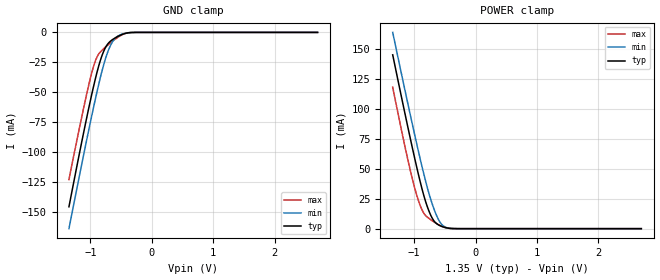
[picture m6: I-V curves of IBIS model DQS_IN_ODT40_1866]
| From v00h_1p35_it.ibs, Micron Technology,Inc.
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| MODEL DQS_IN_ODT40_1866 (Data Strobe Input with 40ohm ODT, 1866Mbps)
[Model]   DQS_IN_ODT40_1866
Model_type   Input
Vinl = 545.000mV
Vinh = 805.000mV
|   typ   min   max
|C_comp   1.023pF   0.931pF   1.130pF
C_comp_power_clamp   0.5115pF   0.4655pF   0.5650pF
C_comp_gnd_clamp   0.5115pF   0.4655pF   0.5650pF
| Note: C_comp changes when the ODT circuit is enabled.
[Model Spec]
| Input threshold voltage corners
Vinl   0.5450V   0.5115V   0.5825V
Vinh   0.8050V   0.7715V   0.8425V
| Dynamic Overshoot Parameters from DDR3L Specification
|D_overshoot_ampl_h   0.40   NA   NA
|D_overshoot_ampl_l   0.40   NA   NA
|D_overshoot_area_h   0.11n   NA   NA
|D_overshoot_area_l   0.11n   NA   NA
[Receiver Thresholds]
|Vth   =  0.675V
|Vth_min  =  0.6615V
|Vth_max  =  0.6885V
|Vinh_ac  =  0.130V
|Vinh_dc  =  0.090V
|Vinl_ac  = -0.130V
|Vinl_dc  = -0.090V
|Tslew_ac =  5.000ns |Not specified, so set to high value
|Threshold_sensitivity = 0.50
|Reference_supply Power_clamp_ref
|NOTE: If using the IBISCHK 4.2.1 or older parser, Differential receiver
|threshold parameters must be commented out because the parser generates
|errors for multiple differential models.
Vcross_low   = 0.545V
Vcross_high  = 0.805V
Vdiff_ac   = 260mV
Vdiff_dc   = 180mV
Tdiffslew_ac = 10.000ns |Not specified, so set to high value
[Voltage Range]   1.3500V   1.2830V   1.4250V
[POWER Clamp Reference]   1.3500V   1.2830V   1.4250V
| Junction Temperature (Ambient temp is 35C typ, 95C min, -40C max)
[Temperature Range]   50.0   110.0   -40.0
[Add Submodel]
| Submodel Name   Mode
40ohm_ODT_1866   Non-Driving
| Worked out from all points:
|   GND clamp passes 1 mA (typ) near -0.44 V on its own axis
|   POWER clamp passes 1 mA (typ) near -0.50 V on its own axis
[GND Clamp]
|   Voltage   I(typ)   I(min)   I(max)
-1.35V    -145.9mA   -164.2mA   -123.2mA
-1.085V   -77.39mA   -95.94mA   -57.13mA
-995mV    -55.65mA   -73.68mA   -37.08mA
-930mV    -41.04mA   -58.18mA   -25.36mA
-890mV    -32.79mA   -49mA      -20.33mA
-845mV    -24.55mA   -39.15mA   -16.71mA
-770mV    -14.21mA   -24.56mA   -12.93mA
-670mV    -7.162mA   -10.58mA   -8.571mA
-575mV    -3.962mA   -3.912mA   -4.851mA
-460mV    -1.301mA   -1.033mA   -1.415mA
-340mV    -133.3uA   -121.1uA   -79.23uA
2.7V      0A         0A         0A
[POWER Clamp]
|   Voltage   I(typ)   I(min)   I(max)
-1.35V    145mA      163.7mA    118mA
-1.2V     108mA      127.3mA    80.42mA
-1.07V    76.81mA    96.43mA    50.07mA
-985mV    57.15mA    76.71mA    32.7mA
-915mV    41.82mA    60.95mA    21.03mA
-830mV    25.33mA    42.85mA    11.96mA
-725mV    10.61mA    23.55mA    7.276mA
-675mV    6.297mA    16.06mA    5.562mA
-615mV    3.475mA    8.695mA    3.687mA
-525mV    1.394mA    2.274mA    1.436mA
-300mV    17.28uA    25.96uA    3.42uA
2.7V      0A         0A         0A
